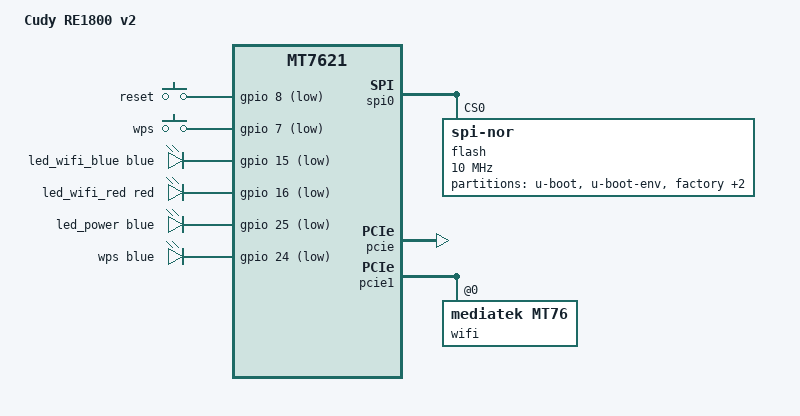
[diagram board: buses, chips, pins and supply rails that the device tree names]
// SPDX-License-Identifier: GPL-2.0-or-later OR MIT

#include "mt7621.dtsi"

#include <dt-bindings/input/input.h>
#include <dt-bindings/leds/common.h>
#include <dt-bindings/gpio/gpio.h>

/ {
	compatible = "cudy,re1800-v2", "mediatek,mt7621-soc";
	model = "Cudy RE1800 v2";

	aliases {
		led-boot = &led_power;
		led-failsafe = &led_wifi_red;
		led-running = &led_power;
		led-upgrade = &led_wifi_red;
		label-mac-device = &gmac0;
	};

	chosen {
		bootargs = "console=ttyS0,115200";
	};

	keys {
		compatible = "gpio-keys";

		reset {
			label = "reset";
			gpios = <&gpio 8 GPIO_ACTIVE_LOW>;
			linux,code = <KEY_RESTART>;
		};

		wps {
			label = "wps";
			gpios = <&gpio 7 GPIO_ACTIVE_LOW>;
			linux,code = <KEY_WPS_BUTTON>;
		};
	};

	leds {
		compatible = "gpio-leds";

		led_wifi_blue: wifi_blue {
			color = <LED_COLOR_ID_BLUE>;
			function = LED_FUNCTION_WLAN;
			gpios = <&gpio 15 GPIO_ACTIVE_LOW>;
		};

		led_wifi_red: wifi_red {
			color = <LED_COLOR_ID_RED>;
			function = LED_FUNCTION_WLAN;
			gpios = <&gpio 16 GPIO_ACTIVE_LOW>;
		};

		led_power: power {
			color = <LED_COLOR_ID_BLUE>;
			function = LED_FUNCTION_POWER;
			gpios = <&gpio 25 GPIO_ACTIVE_LOW>;
			default-state = "on";
		};

		wps {
			color = <LED_COLOR_ID_BLUE>;
			function = LED_FUNCTION_WPS;
			gpios = <&gpio 24 GPIO_ACTIVE_LOW>;
		};
	};
};

&spi0 {
	status = "okay";

	flash@0 {
		compatible = "jedec,spi-nor";
		reg = <0>;
		spi-max-frequency = <10000000>;

		partitions {
			compatible = "fixed-partitions";
			#address-cells = <1>;
			#size-cells = <1>;

			partition@0 {
				label = "u-boot";
				reg = <0x0 0x30000>;
				read-only;
			};

			partition@30000 {
				label = "u-boot-env";
				reg = <0x30000 0x10000>;
				read-only;
			};

			partition@40000 {
				label = "factory";
				reg = <0x40000 0x10000>;
				read-only;

				nvmem-layout {
					compatible = "fixed-layout";
					#address-cells = <1>;
					#size-cells = <1>;

					eeprom_factory_0: eeprom@0 {
						reg = <0x0 0xe00>;
					};
				};
			};

			partition@50000 {
				compatible = "denx,uimage";
				label = "firmware";
				reg = <0x50000 0x7a0000>;
			};

			partition@7f0000 {
				label = "bdinfo";
				reg = <0x7f0000 0x10000>;
				read-only;

				nvmem-layout {
					compatible = "fixed-layout";
					#address-cells = <1>;
					#size-cells = <1>;

					macaddr_bdinfo_de00: macaddr@de00 {
						compatible = "mac-base";
						reg = <0xde00 0x6>;
						#nvmem-cell-cells = <1>;
					};
				};
			};
		};
	};
};

&pcie {
	status = "okay";
};

&pcie1 {
	wifi@0,0 {
		compatible = "mediatek,mt76";
		reg = <0x0000 0 0 0 0>;
		nvmem-cells = <&eeprom_factory_0>, <&macaddr_bdinfo_de00 1>;
		nvmem-cell-names = "eeprom", "mac-address";
	};
};

&gmac0 {
	nvmem-cells = <&macaddr_bdinfo_de00 0>;
	nvmem-cell-names = "mac-address";
};

&switch0 {
	ports {
		port@3 {
			status = "okay";
			label = "lan";
		};
	};
};

&ethernet {
	pinctrl-names = "default";
	pinctrl-0 = <&mdio_pins>, <&rgmii1_pins>;
};

&state_default {
	gpio {
		groups = "wdt", "uart3", "rgmii2";
		function = "gpio";
	};
};
